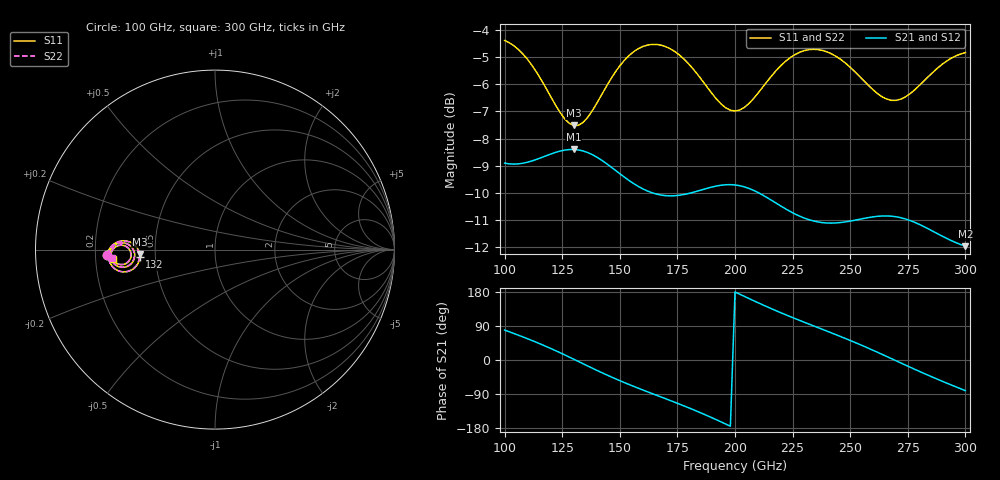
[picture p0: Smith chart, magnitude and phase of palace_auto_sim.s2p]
#  GHZ S DB R 50
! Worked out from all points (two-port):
!   101 points, 100 GHz to 300 GHz, reference 50 ohm
!   highest |S21| = -8.40 dB at 130 GHz (marker M1); lowest = -12.0 dB at 300 GHz (marker M2)
!   |S21| within 3 dB of the highest: start of sweep to 285.7 GHz
!   lowest |S11| = -7.5 dB at 130 GHz (marker M3), VSWR 2.45, Z = 20.4 - j1.18 ohm
!   |S11| at or under -10 dB: nowhere
!   |S22| runs from -7.5 to -4.4 dB; largest |S21 - S12| = 4.1e-14
!   S11 on the Smith chart (normalised r, x): 100 GHz: 0.25, -0.02; 132 GHz: 0.41, -0.04; 300 GHz: 0.27, -0.04
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100  -4.39 -177.3  -8.90 79.1  -8.90 79.1  -4.38 -177.2
116  -5.85 174.4  -8.70 41.1  -8.70 41.1  -5.82 174.6
124  -7.03 177.0  -8.46 19.4  -8.46 19.4  -6.98 177.1
130  -7.52 -176.8  -8.40 2.1  -8.40 2.1  -7.47 -176.7
132  -7.51 -174.3  -8.42 -3.8  -8.42 -3.8  -7.46 -174.3
134  -7.41 -171.9  -8.45 -9.7  -8.45 -9.7  -7.36 -171.9
142  -6.41 -166.2  -8.79 -32.9  -8.79 -32.9  -6.37 -166.3
150  -5.32 -167.0  -9.29 -54.5  -9.29 -54.5  -5.30 -167.1
160  -4.61 -172.5  -9.85 -79.1  -9.85 -79.1  -4.59 -172.5
168  -4.57 -177.5  -10.08 -97.8  -10.08 -97.8  -4.55 -177.5
184  -5.67 175.8  -9.92 -136.5  -9.92 -136.5  -5.64 175.9
192  -6.55 177.5  -9.74 -157.9  -9.74 -157.9  -6.51 177.5
200  -6.98 -176.4  -9.70 179.5  -9.70 179.5  -6.94 -176.5
208  -6.53 -170.5  -9.90 156.7  -9.90 156.7  -6.49 -170.6
216  -5.68 -169.0  -10.28 134.9  -10.28 134.9  -5.65 -169.2
224  -5.02 -171.2  -10.68 114.4  -10.68 114.4  -5.00 -171.4
234  -4.72 -176.1  -11.03 90.3  -11.03 90.3  -4.70 -176.2
250  -5.38 177.6  -11.03 51.5  -11.03 51.5  -5.36 177.6
260  -6.21 178.4  -10.88 25.4  -10.88 25.4  -6.19 178.3
268  -6.59 -177.3  -10.85 3.3  -10.85 3.3  -6.56 -177.4
284  -5.71 -170.7  -11.32 -40.7  -11.32 -40.7  -5.70 -170.9
300  -4.84 -174.9  -11.95 -80.9  -11.95 -80.9  -4.83 -175.1
